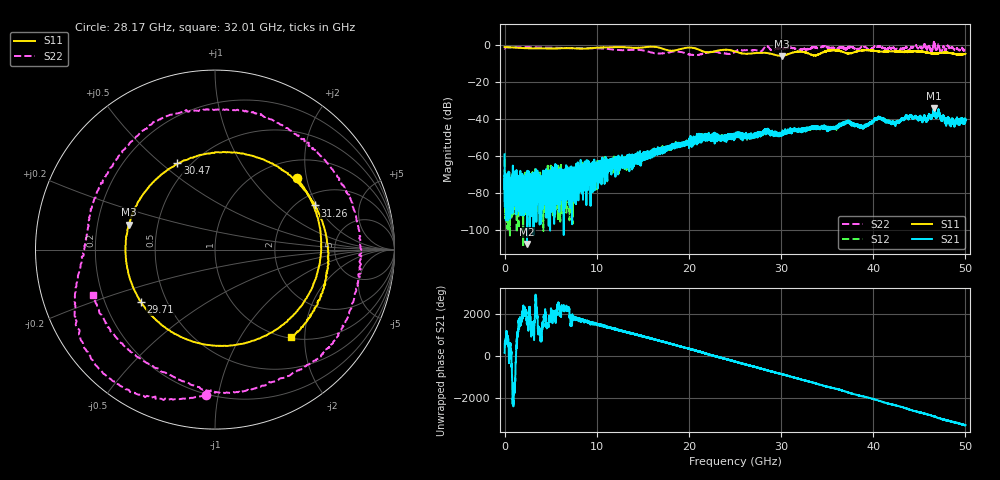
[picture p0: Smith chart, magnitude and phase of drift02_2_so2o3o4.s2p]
!Created with skrf (http://scikit-rf.org).
# Hz S RI R 50.0
!freq ReS11 ImS11 ReS21 ImS21 ReS12 ImS12 ReS22 ImS22
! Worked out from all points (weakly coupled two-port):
!   10001 points, 300 kHz to 50 GHz, reference 50 ohm
!   highest |S21| = -34.36 dB at 46.6 GHz (marker M1); lowest = -107.4 dB at 2.43 GHz (marker M2)
!   lowest |S11| = -6.1 dB at 30.09 GHz (marker M3), VSWR 2.98, Z = 17.1 + j6.34 ohm
!   |S11| at or under -10 dB: nowhere
!   |S22| runs from -5.7 to 2.3 dB; largest |S21 - S12| = 0.0033
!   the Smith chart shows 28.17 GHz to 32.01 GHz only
!   S11 on the Smith chart (normalised r, x): 28.17 GHz: 1.40, +1.75; 29.71 GHz: 0.36, -0.28; 30.47 GHz: 0.43, +0.57; 31.26 GHz: 2.45, +1.92; 32.01 GHz: 1.02, -1.72
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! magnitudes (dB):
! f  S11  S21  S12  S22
! 300 kHz  -1.3  -59.1  -61.9  -2.1
! 270.3 MHz  -1.4  -74.3  -99.3  -1.4
! 2.43 GHz  -2.0  -107.4  -76.6  -1.3
! 6.02 GHz  -2.0  -67.4  -75.4  -1.7
! 8.335 GHz  -2.2  -69.1  -69.9  -1.9
! 16.67 GHz  -1.5  -56.9  -57.5  -4.8
! 21.6 GHz  -3.7  -48.6  -49.2  -4.7
! 25 GHz  -3.7  -48.6  -49.6  -3.9
! 28.17 GHz  -4.4  -47.3  -46.5  -1.8
! 29.71 GHz  -5.9  -48.2  -47.9  -2.2
! 30.09 GHz  -6.1  -47.5  -48.1  -2.1
! 30.47 GHz  -5.6  -46.7  -46.6  -1.9
! 31.26 GHz  -4.3  -46.6  -46.9  -1.9
! 32.01 GHz  -3.8  -45.7  -45.8  -2.8
! 33.34 GHz  -5.5  -44.7  -44.7  -1.5
! 37.29 GHz  -4.8  -41.7  -41.1  -1.3
! 38.87 GHz  -3.1  -44.6  -44.1  -1.4
! 40.61 GHz  -3.7  -38.9  -39.3  -0.9
! 41.67 GHz  -3.7  -41.4  -41.4  -1.9
! 46.6 GHz  -4.6  -34.4  -34.2  1.7
! 48.07 GHz  -4.3  -39.4  -41.1  -0.7
! 50 GHz  -4.9  -40.3  -40.6  -2.6
